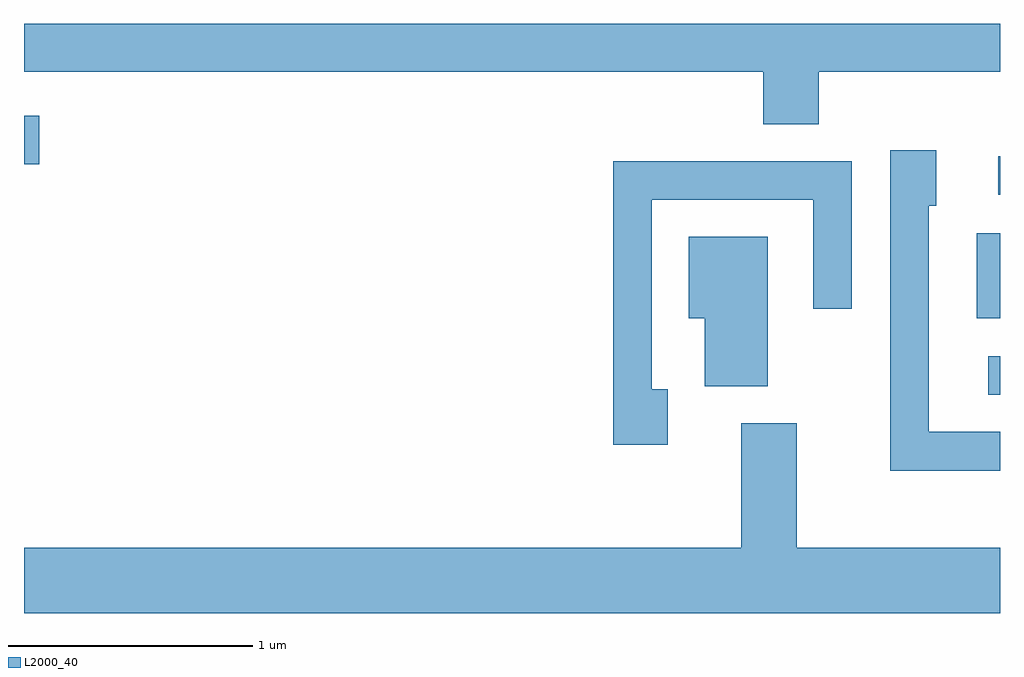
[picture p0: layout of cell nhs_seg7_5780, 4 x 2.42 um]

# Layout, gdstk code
import gdstk
lib = gdstk.Library(unit=1e-6, precision=1e-09)
def R(c, l, rs):  # rectangles x0, y0, x1, y1
    for r in rs: c.add(gdstk.rectangle(r[:2], r[2:], *l))
def P(c, l, *ps):  # polygons
    for p in ps: c.add(gdstk.Polygon(p, *l))
L2000_40 = (2000, 40)

nhs_seg7_5780 = lib.new_cell('nhs_seg7_5780')
R(nhs_seg7_5780, L2000_40, [(365.563,1750.731,365.611,1750.889), (365.516,1751.046,365.611,1751.394), (365.603,1751.551,365.611,1751.709), (361.611,1751.676,361.674,1751.874)])
P(nhs_seg7_5780, L2000_40, [(364.869,1752.056),(365.611,1752.056),(365.611,1752.252),(361.611,1752.252),(361.611,1752.056),(364.641,1752.056),(364.641,1751.841),(364.869,1751.841)],
  [(365.611,1750.579),(365.319,1750.579),(365.319,1751.506),(365.349,1751.506),(365.349,1751.734),(365.161,1751.734),(365.161,1750.421),(365.611,1750.421)],
  [(364.249,1750.754),(364.184,1750.754),(364.184,1751.531),(364.846,1751.531),(364.846,1751.083),(365.004,1751.083),(365.004,1751.689),(364.026,1751.689),(364.026,1750.526),(364.249,1750.526)],
  [(364.659,1751.379),(364.336,1751.379),(364.336,1751.046),(364.401,1751.046),(364.401,1750.766),(364.659,1750.766)],
  [(365.611,1750.104),(364.779,1750.104),(364.779,1750.614),(364.551,1750.614),(364.551,1750.104),(361.611,1750.104),(361.611,1749.836),(365.611,1749.836)])

lib.write_gds('nhs_seg7_5780.gds')
